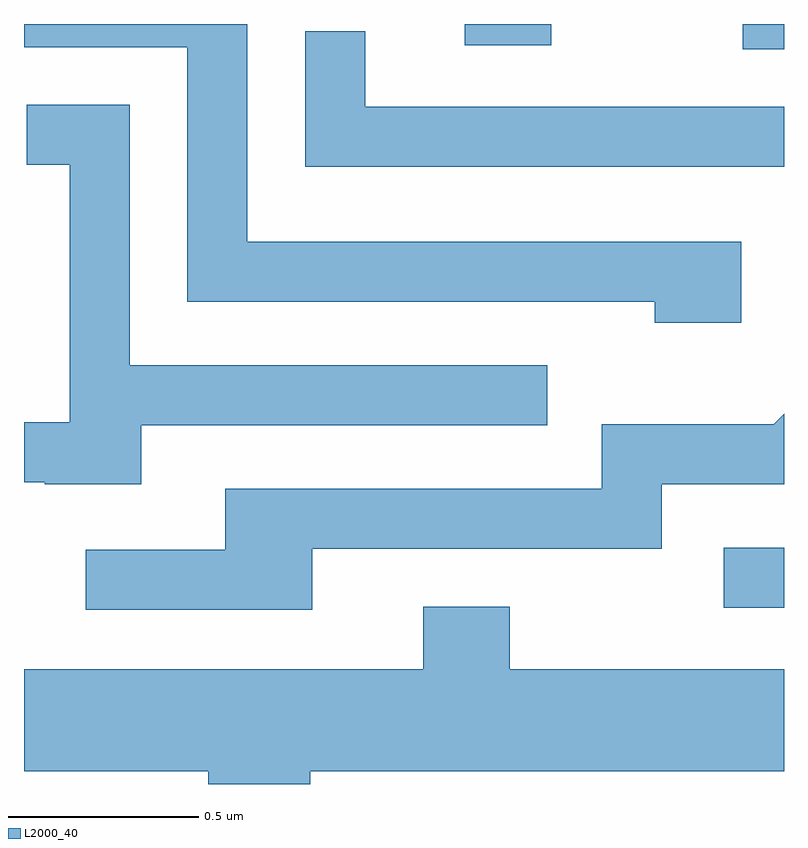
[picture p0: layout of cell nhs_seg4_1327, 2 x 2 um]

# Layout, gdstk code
import gdstk
lib = gdstk.Library(unit=1e-6, precision=1e-09)
def R(c, l, rs):  # rectangles x0, y0, x1, y1
    for r in rs: c.add(gdstk.rectangle(r[:2], r[2:], *l))
def P(c, l, *ps):  # polygons
    for p in ps: c.add(gdstk.Polygon(p, *l))
L2000_40 = (2000, 40)

nhs_seg4_1327 = lib.new_cell('nhs_seg4_1327')
R(nhs_seg4_1327, L2000_40, [(196.453,1348.446,196.611,1348.604), (196.503,1349.916,196.611,1349.982), (195.771,1349.926,195.999,1349.982)])
P(nhs_seg4_1327, L2000_40, [(196.499,1349.409),(195.199,1349.409),(195.199,1349.982),(194.611,1349.982),(194.611,1349.921),(195.041,1349.921),(195.041,1349.251),(196.271,1349.251),(196.271,1349.196),(196.499,1349.196)],
  [(196.611,1349.764),(195.509,1349.764),(195.509,1349.963),(195.351,1349.963),(195.351,1349.606),(196.611,1349.606)],
  [(194.919,1348.926),(195.988,1348.926),(195.988,1349.084),(194.889,1349.084),(194.889,1349.769),(194.618,1349.769),(194.618,1349.611),(194.731,1349.611),(194.731,1348.934),(194.611,1348.934),(194.611,1348.776),(194.665,1348.776),(194.665,1348.771),(194.919,1348.771)],
  [(195.369,1348.601),(196.289,1348.601),(196.289,1348.771),(196.611,1348.771),(196.611,1348.956),(196.584,1348.929),(196.131,1348.929),(196.131,1348.759),(195.141,1348.759),(195.141,1348.599),(194.773,1348.599),(194.773,1348.441),(195.369,1348.441)],
  [(195.364,1348.016),(196.611,1348.016),(196.611,1348.284),(195.889,1348.284),(195.889,1348.449),(195.661,1348.449),(195.661,1348.284),(194.611,1348.284),(194.611,1348.016),(195.096,1348.016),(195.096,1347.982),(195.364,1347.982)])

lib.write_gds('nhs_seg4_1327.gds')
